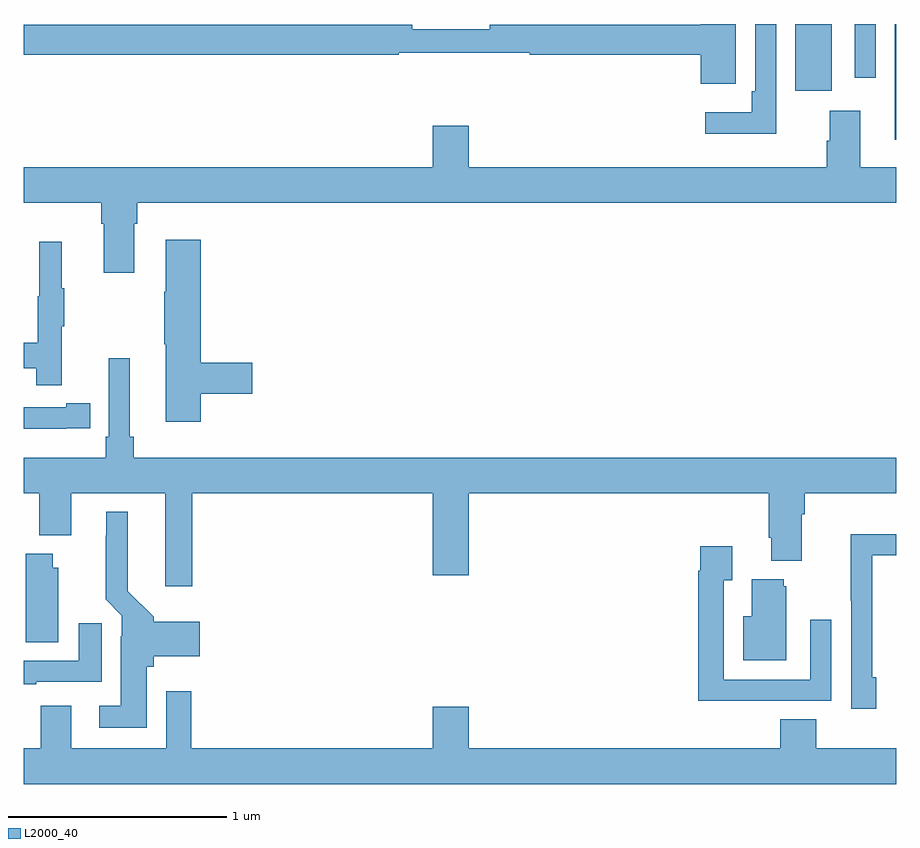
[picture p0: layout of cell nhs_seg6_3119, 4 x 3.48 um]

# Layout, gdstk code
import gdstk
lib = gdstk.Library(unit=1e-6, precision=1e-09)
def R(c, l, rs):  # rectangles x0, y0, x1, y1
    for r in rs: c.add(gdstk.rectangle(r[:2], r[2:], *l))
def P(c, l, *ps):  # polygons
    for p in ps: c.add(gdstk.Polygon(p, *l))
L2000_40 = (2000, 40)

nhs_seg6_3119 = lib.new_cell('nhs_seg6_3119')
R(nhs_seg6_3119, L2000_40, [(298.994,936.969,299,937.5), (298.538,937.194,298.705,937.5), (298.809,937.254,298.905,937.5)])
P(nhs_seg6_3119, L2000_40, [(298.449,937.5),(298.353,937.5),(298.353,937.192),(298.337,937.192),(298.337,937.096),(298.125,937.096),(298.125,936.998),(298.449,936.998)],
  [(298.263,937.339),(298.264,937.339),(298.264,937.5),(298.103,937.5),(298.103,937.496),(297.136,937.496),(297.136,937.477),(296.78,937.477),(296.78,937.496),(295,937.496),(295,937.36),(296.719,937.36),(296.719,937.368),(297.319,937.368),(297.319,937.36),(298.103,937.36),(298.103,937.227),(298.263,937.227)],
  [(295.507,936.584),(295.52,936.584),(295.52,936.68),(299,936.68),(299,936.844),(298.834,936.844),(298.834,937.102),(298.694,937.102),(298.694,936.965),(298.682,936.965),(298.682,936.844),(297.04,936.844),(297.04,937.033),(296.876,937.033),(296.876,936.844),(295,936.844),(295,936.68),(295.355,936.68),(295.355,936.584),(295.367,936.584),(295.367,936.36),(295.507,936.36)],
  [(295.811,935.806),(296.047,935.806),(296.047,935.948),(295.811,935.948),(295.811,936.511),(295.652,936.511),(295.652,936.272),(295.645,936.272),(295.645,936.031),(295.652,936.031),(295.652,935.676),(295.811,935.676)],
  [(295.175,936.115),(295.186,936.115),(295.186,936.289),(295.175,936.289),(295.175,936.502),(295.072,936.502),(295.072,936.252),(295.065,936.252),(295.065,936.038),(295,936.038),(295,935.922),(295.057,935.922),(295.057,935.844),(295.175,935.844)],
  [(295.772,935.348),(296.876,935.348),(296.876,934.974),(297.04,934.974),(297.04,935.348),(298.415,935.348),(298.415,935.146),(298.427,935.146),(298.427,935.039),(298.567,935.039),(298.567,935.252),(298.58,935.252),(298.58,935.348),(299,935.348),(299,935.512),(295.505,935.512),(295.505,935.608),(295.486,935.608),(295.486,935.968),(295.389,935.968),(295.389,935.608),(295.376,935.608),(295.376,935.512),(295,935.512),(295,935.348),(295.072,935.348),(295.072,935.156),(295.219,935.156),(295.219,935.348),(295.649,935.348),(295.649,934.923),(295.772,934.923)],
  [(295.196,935.646),(295.304,935.646),(295.304,935.762),(295.196,935.762),(295.196,935.742),(295,935.742),(295,935.645),(295.196,935.645)],
  [(295.564,934.554),(295.595,934.554),(295.595,934.601),(295.807,934.601),(295.807,934.759),(295.595,934.759),(295.595,934.782),(295.477,934.9),(295.477,935.263),(295.379,935.263),(295.379,935.153),(295.375,935.153),(295.375,934.862),(295.449,934.788),(295.449,934.694),(295.445,934.694),(295.445,934.375),(295.347,934.375),(295.347,934.274),(295.564,934.274)],
  [(298.909,934.506),(298.89,934.506),(298.89,935.064),(299,935.064),(299,935.162),(298.792,935.162),(298.792,934.855),(298.794,934.855),(298.794,934.362),(298.909,934.362)],
  [(298.385,934.398),(298.701,934.398),(298.701,934.768),(298.605,934.768),(298.605,934.494),(298.209,934.494),(298.209,934.951),(298.249,934.951),(298.249,935.107),(298.101,935.107),(298.101,934.994),(298.093,934.994),(298.093,934.397),(298.385,934.397)],
  [(295.159,935.007),(295.132,935.007),(295.132,935.071),(295.01,935.071),(295.01,934.666),(295.159,934.666)],
  [(298.495,934.923),(298.484,934.923),(298.484,934.954),(298.337,934.954),(298.337,934.786),(298.298,934.786),(298.298,934.583),(298.495,934.583)],
  [(295.057,934.485),(295.357,934.485),(295.357,934.753),(295.253,934.753),(295.253,934.581),(295,934.581),(295,934.473),(295.057,934.473)],
  [(299,934.18),(298.634,934.18),(298.634,934.313),(298.469,934.313),(298.469,934.18),(297.04,934.18),(297.04,934.369),(296.876,934.369),(296.876,934.18),(295.769,934.18),(295.769,934.441),(295.653,934.441),(295.653,934.18),(295.219,934.18),(295.219,934.375),(295.079,934.375),(295.079,934.18),(295,934.18),(295,934.016),(299,934.016)])

lib.write_gds('nhs_seg6_3119.gds')
